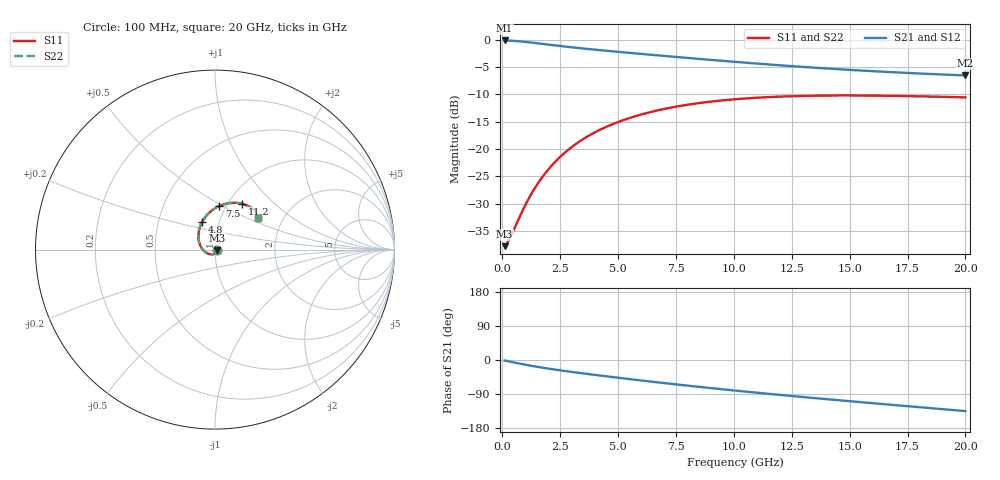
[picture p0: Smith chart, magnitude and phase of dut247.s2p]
! Touchstone file exported from HFSS 2024.1.0
!  File:  C:/UserFiles/LocalFiles/RDL_TSV_Batchsim/temp_RDL_TSV_247_1779455615.aedt
!  Generated:  09:29:58 PM May 22, 2026
!  Design:  RDL_TSV
!  Project:  temp_RDL_TSV_247_1779455615
!  Setup:  Setup1
!  Solution:  Sweep
! Variables:
!  dtsv = 12.68um
!  hbump = 3um
!  htsv = 68.61um
!  ldown = 132.63um
!  lrdl = 317.2um
!  p = 40
!  p1 = 46.46um
!  rhole = 10um
!  subl = 1666.69um
!  t = 450um
!  tdown = 2.27um
!  trdl = 2.35um
!  viad = 10um
!  wdown = 24.47um
!  wrdl = 20.33um
!  xbump = 18um
# GHz S MA R 50.000000
! Terminal data exported
! Port[1] = TM1_1_T1
! Port[2] = TM1_4_T1
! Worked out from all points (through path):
!   200 points, 100 MHz to 20 GHz, reference 50 ohm
!   highest |S21| = -0.11 dB at 100 MHz (marker M1); lowest = -6.5 dB at 20 GHz (marker M2)
!   group delay of S21, straight-line fit = 17.7 ps
!   lowest |S11| = -37.8 dB at 100 MHz (marker M3), VSWR 1.03, Z = 51.3 - j0.364 ohm
!   |S11| at or under -10 dB: start of sweep to end of sweep
!   |S22| runs from -37.8 to -10.2 dB; largest |S21 - S12| = 1.3e-14
!   S11 on the Smith chart (normalised r, x): 100 MHz: 1.03, -0.01; 4.8 GHz: 0.83, +0.26; 7.5 GHz: 0.93, +0.48; 11.2 GHz: 1.16, +0.65; 20 GHz: 1.51, +0.57
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0.1  0.01288 -16.0  0.9869 -1.3  0.9869 -1.3  0.01288 -16.0
! Gamma 0 0 0 0
! Port Impedance 50 0 50 0
0.3  0.01482 -46.3  0.9837 -4.0  0.9837 -4.0  0.01482 -46.3
0.8  0.02525 -103.8  0.9665 -10.2  0.9665 -10.2  0.02525 -103.9
1.1  0.03386 -128.2  0.9523 -13.6  0.9523 -13.6  0.03387 -128.2
1.4  0.04364 -147.6  0.9365 -16.9  0.9365 -16.9  0.04366 -147.7
1.7  0.05427 -163.6  0.92 -19.9  0.92 -19.9  0.0543 -163.7
2.1  0.06928 178.9  0.8984 -23.7  0.8984 -23.7  0.06933 178.9
2.5  0.08478 164.7  0.8778 -27.3  0.8778 -27.3  0.08485 164.7
3  0.1043 150.2  0.8541 -31.5  0.8541 -31.5  0.1044 150.2
3.5  0.1235 138.3  0.8324 -35.5  0.8324 -35.5  0.1236 138.3
4.1  0.1457 126.4  0.8086 -40.1  0.8086 -40.1  0.1458 126.4
4.8  0.17 115.0  0.7831 -45.4  0.7831 -45.4  0.1702 115.0
5.7  0.1984 102.8  0.7526 -51.9  0.7526 -51.9  0.1986 102.8
6.8  0.2281 90.8  0.7179 -59.6  0.7179 -59.6  0.2284 90.8
7.5  0.2442 84.2  0.6969 -64.4  0.6969 -64.4  0.2445 84.2
8.7  0.2669 74.6  0.6631 -72.2  0.6631 -72.2  0.2673 74.6
10.1  0.2862 65.4  0.627 -80.9  0.627 -80.9  0.2866 65.4
11.2  0.2966 59.3  0.6013 -87.5  0.6013 -87.5  0.297 59.3
13.4  0.3076 49.7  0.5571 -100.0  0.5571 -100.0  0.308 49.7
15  0.3093 44.4  0.5306 -108.7  0.5306 -108.7  0.3097 44.5
16.7  0.3071 40.2  0.507 -117.7  0.507 -117.7  0.3075 40.3
20  0.2973 35.7  0.4719 -134.8  0.4719 -134.8  0.2976 35.7
